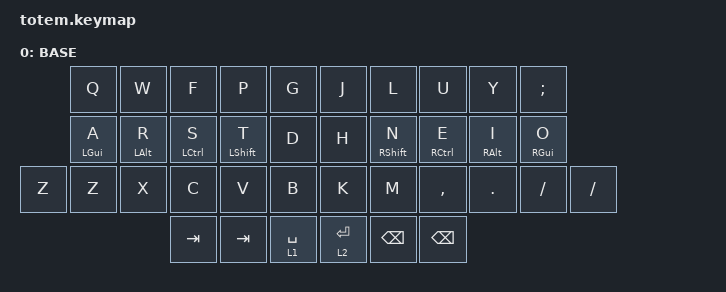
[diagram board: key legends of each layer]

#include <behaviors.dtsi>
#include <dt-bindings/zmk/keys.h>
#include <dt-bindings/zmk/bt.h>
#include <dt-bindings/zmk/outputs.h>

/ {
        keymap {
                compatible = "zmk,keymap";

                base_layer {

label= "BASE";
 bindings = <
                &kp Q       &kp W       &kp F       &kp P       &kp G           &kp J       &kp L       &kp U       &kp Y       &kp SEMI
                &mt LGUI A  &mt LALT R  &mt LCTRL S &mt LSHFT T &kp D           &kp H       &mt RSHFT N &mt RCTRL E &mt RALT I  &mt RGUI O
    &kp Z       &kp Z       &kp X       &kp C       &kp V       &kp B           &kp K       &kp M       &kp COMMA   &kp DOT     &kp FSLH    &kp FSLH
                                        &kp TAB     &kp TAB     &lt 1 SPACE   &lt 2 RET &kp BSPC    &kp BSPC
                        >;
                };

};

};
